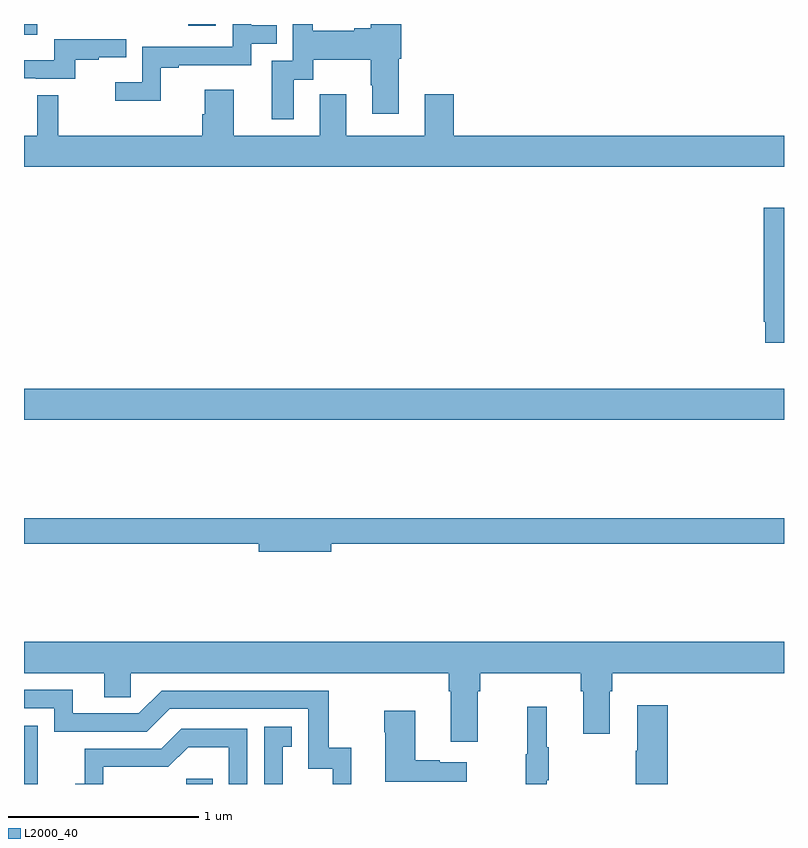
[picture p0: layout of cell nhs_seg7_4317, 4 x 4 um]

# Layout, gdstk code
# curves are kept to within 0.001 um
import gdstk
lib = gdstk.Library(unit=1e-6, precision=1e-09)
def R(c, l, rs):  # rectangles x0, y0, x1, y1
    for r in rs: c.add(gdstk.rectangle(r[:2], r[2:], *l))
def P(c, l, *ps):  # polygons
    for p in ps: c.add(gdstk.Polygon(p, *l))
L2000_40 = (2000, 40)

nhs_seg7_4317 = lib.new_cell('nhs_seg7_4317')
R(nhs_seg7_4317, L2000_40, [(383.853,1032,383.993,1032.027), (383,1033.916,387,1034.08), (383,1035.944,383.071,1036), (383.865,1035.992,384.01,1036)])
P(nhs_seg7_4317, L2000_40, [(384.421,1035.706),(384.523,1035.706),(384.523,1035.812),(384.826,1035.812),(384.826,1035.678),(384.833,1035.678),(384.833,1035.528),(384.973,1035.528),(384.973,1035.816),(384.986,1035.816),(384.986,1036),(384.826,1036),(384.826,1035.977),(384.737,1035.977),(384.737,1035.964),(384.519,1035.964),(384.519,1036),(384.414,1036),(384.414,1035.807),(384.305,1035.807),(384.305,1035.498),(384.421,1035.498)],
  [(383.721,1035.771),(383.815,1035.771),(383.815,1035.783),(384.195,1035.783),(384.195,1035.897),(384.329,1035.897),(384.329,1035.993),(384.195,1035.993),(384.195,1036),(384.099,1036),(384.099,1035.879),(383.622,1035.879),(383.622,1035.694),(383.481,1035.694),(383.481,1035.596),(383.721,1035.596)],
  [(383.27,1035.813),(383.393,1035.813),(383.393,1035.824),(383.537,1035.824),(383.537,1035.921),(383.16,1035.921),(383.16,1035.809),(383,1035.809),(383,1035.714),(383.062,1035.714),(383.062,1035.711),(383.27,1035.711)],
  [(387,1035.412),(385.262,1035.412),(385.262,1035.631),(385.109,1035.631),(385.109,1035.412),(384.697,1035.412),(384.697,1035.631),(384.557,1035.631),(384.557,1035.412),(384.103,1035.412),(384.103,1035.655),(383.951,1035.655),(383.951,1035.525),(383.939,1035.525),(383.939,1035.412),(383.179,1035.412),(383.179,1035.626),(383.07,1035.626),(383.07,1035.412),(383,1035.412),(383,1035.248),(387,1035.248)],
  [(387,1035.032),(386.893,1035.032),(386.893,1034.434),(386.901,1034.434),(386.901,1034.322),(387,1034.322)],
  [(384.616,1033.264),(387,1033.264),(387,1033.4),(383,1033.4),(383,1033.264),(384.236,1033.264),(384.236,1033.222),(384.616,1033.222)],
  [(385.387,1032.488),(385.4,1032.488),(385.4,1032.584),(385.931,1032.584),(385.931,1032.488),(385.943,1032.488),(385.943,1032.264),(386.083,1032.264),(386.083,1032.488),(386.096,1032.488),(386.096,1032.584),(387,1032.584),(387,1032.748),(383,1032.748),(383,1032.584),(383.423,1032.584),(383.423,1032.457),(383.562,1032.457),(383.562,1032.584),(385.235,1032.584),(385.235,1032.488),(385.247,1032.488),(385.247,1032.222),(385.387,1032.222)],
  [(384.722,1032.19),(384.604,1032.19),(384.604,1032.492),(383.724,1032.492),(383.604,1032.372),(383.257,1032.372),(383.257,1032.495),(383,1032.495),(383,1032.399),(383.16,1032.399),(383.16,1032.276),(383.646,1032.276),(383.766,1032.396),(384.495,1032.396),(384.495,1032.081),(384.624,1032.081),(384.624,1032),(384.722,1032)],
  [(386.387,1032.415),(386.228,1032.415),(386.228,1032.176),(386.221,1032.176),(386.221,1032),(386.387,1032)],
  [(385.751,1032.019),(385.762,1032.019),(385.762,1032.193),(385.751,1032.193),(385.751,1032.406),(385.648,1032.406),(385.648,1032.156),(385.641,1032.156),(385.641,1032),(385.751,1032)],
  [(385.33,1032.115),(385.187,1032.115),(385.187,1032.125),(385.06,1032.125),(385.06,1032.385),(384.895,1032.385),(384.895,1032.272),(384.902,1032.272),(384.902,1032.011),(385.33,1032.011)],
  [(383.072,1032.101),(383.073,1032.101),(383.073,1032.307),(383,1032.307),(383,1032),(383.072,1032)],
  [(384.361,1032.195),(384.41,1032.195),(384.41,1032.301),(384.264,1032.301),(384.264,1032),(384.361,1032)],
  [(383.418,1032.09),(383.76,1032.09),(383.864,1032.194),(384.078,1032.194),(384.078,1032),(384.174,1032),(384.174,1032.291),(383.828,1032.291),(383.723,1032.186),(383.32,1032.186),(383.32,1032.001),(383.271,1032),(383.418,1032)])

lib.write_gds('nhs_seg7_4317.gds')
